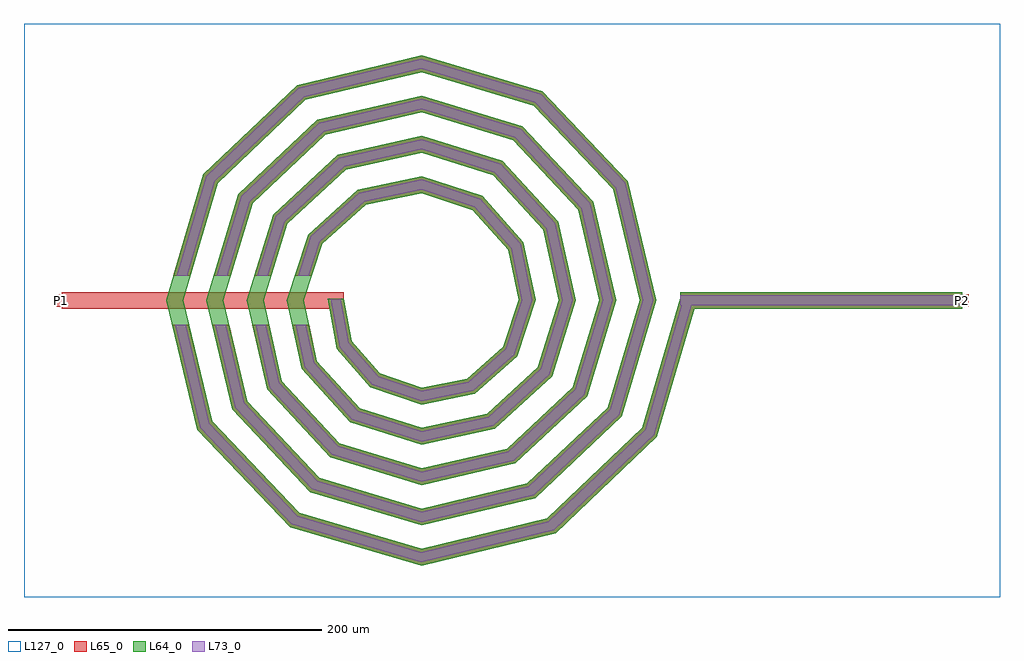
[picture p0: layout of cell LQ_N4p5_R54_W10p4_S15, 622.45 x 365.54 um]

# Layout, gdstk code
import gdstk
lib = gdstk.Library(unit=1e-6, precision=1e-09)
def R(c, l, rs):  # rectangles x0, y0, x1, y1
    for r in rs: c.add(gdstk.rectangle(r[:2], r[2:], *l))
def P(c, l, *ps):  # polygons
    for p in ps: c.add(gdstk.Polygon(p, *l))
L64_0 = (64, 0)
L65_0 = (65, 0)
L73_0 = (73, 0)
L127_0 = (127, 0)

lq_n4p5_r54_w10p4_s15 = lib.new_cell('LQ_N4p5_R54_W10p4_S15')
R(lq_n4p5_r54_w10p4_s15, L64_0, [(165.033,-5.2,345.033,5.2)])
P(lq_n4p5_r54_w10p4_s15, L64_0, [(-44.315,-26.022),(-26.449,-46.54),(0.352,-55.669),(29.199,-49.895),(52.083,-29.69),(62.091,0.318),(55.471,32.383),(32.926,57.629),(0.291,68.512),(-35.571,61.046),(-63.178,36.159),(-74.934,0.268),(-66.618,-38.763),(-39.388,-68.73),(0.248,-81.356),(41.958,-72.19),(74.282,-42.614),(87.778,0.231),(77.76,45.155),(45.839,79.837),(0.216,94.201),(-48.354,83.329),(-85.392,49.062),(-100.623,0.203),(-88.897,-51.554),(-52.284,-90.948),(0.191,-107.046),(54.756,-94.465),(96.505,-55.504),(113.468,0.181),(100.032,57.959),(58.724,102.062),(0.172,119.891),(-61.162,105.598),(-107.62,61.943),(-126.314,0.163),(-111.165,-64.367),(-65.161,-113.178),(0.156,-132.736),(67.571,-116.731),(118.737,-68.378),(139.159,0.149),(122.296,70.777),(71.595,124.296),(0.142,145.582),(-73.983,127.862),(-129.855,74.812),(-152.005,0.137),(-133.427,-77.19),(-78.028,-135.415),(0.131,-158.428),(80.396,-138.992),(140.975,-81.244),(165.243,1.464),(175.222,-1.464),(150.169,-86.848),(85.554,-148.443),(0.131,-169.192),(-83.641,-144.604),(-142.883,-82.338),(-162.769,0.137),(-139.038,80.434),(-79.122,137.324),(0.142,156.346),(77.228,133.473),(131.764,75.905),(149.923,0.149),(127.907,-74.022),(72.688,-126.205),(0.156,-143.5),(-70.816,-122.341),(-120.646,-69.47),(-137.076,0.163),(-116.775,67.611),(-66.251,115.088),(0.172,130.653),(64.407,111.208),(109.529,63.032),(124.23,0.181),(105.64,-61.204),(59.812,-103.972),(0.191,-117.807),(-58.002,-100.072),(-98.415,-56.59),(-111.384,0.203),(-94.503,54.8),(-53.368,92.858),(0.216,104.96),(51.601,88.934),(87.302,50.144),(98.537,0.231),(83.363,-48.402),(46.918,-81.748),(0.248,-92.113),(-45.206,-77.791),(-76.194,-43.69),(-85.69,0.268),(-72.217,42.012),(-40.459,70.642),(0.291,79.266),(38.821,66.642),(65.091,37.224),(72.841,0.318),(61.063,-35.635),(33.985,-59.543),(0.352,-66.417),(-32.453,-55.481),(-53.998,-30.739),(-59.726,0.983),(-49.514,0.983)])
R(lq_n4p5_r54_w10p4_s15, L65_0, [(-229.42,-5.2,-49.42,5.2), (165.033,-5.2,345.033,5.2), (-233.42,-4,-225.42,4), (341.033,-4,349.033,4)])
P(lq_n4p5_r54_w10p4_s15, L65_0, [(-133.427,-77.19),(-78.028,-135.415),(0.131,-158.428),(80.397,-138.992),(140.975,-81.244),(165.243,1.464),(175.222,-1.464),(150.169,-86.848),(85.554,-148.443),(0.131,-169.192),(-83.641,-144.604),(-142.883,-82.338),(-158.975,-15.6),(-148.277,-15.6)],
  [(-111.165,-64.367),(-65.161,-113.178),(0.156,-132.737),(67.572,-116.731),(118.737,-68.378),(139.159,0.149),(122.296,70.777),(71.595,124.296),(0.142,145.582),(-73.983,127.862),(-129.855,74.812),(-147.354,15.6),(-158.199,15.6),(-139.039,80.434),(-79.122,137.324),(0.142,156.346),(77.228,133.473),(131.764,75.905),(149.923,0.149),(127.907,-74.022),(72.688,-126.205),(0.156,-143.5),(-70.816,-122.341),(-120.646,-69.47),(-133.357,-15.6),(-122.671,-15.6)],
  [(-88.897,-51.554),(-52.284,-90.948),(0.191,-107.046),(54.756,-94.465),(96.505,-55.504),(113.469,0.181),(100.032,57.959),(58.724,102.062),(0.172,119.891),(-61.162,105.599),(-107.62,61.943),(-121.569,15.6),(-132.43,15.6),(-116.775,67.611),(-66.251,115.088),(0.172,130.653),(64.407,111.208),(109.53,63.032),(124.23,0.181),(105.64,-61.204),(59.812,-103.972),(0.191,-117.807),(-58.002,-100.072),(-98.415,-56.59),(-107.775,-15.6),(-97.107,-15.6)],
  [(-66.618,-38.763),(-39.388,-68.73),(0.248,-81.356),(41.958,-72.19),(74.282,-42.614),(87.778,0.231),(77.76,45.155),(45.839,79.837),(0.216,94.201),(-48.354,83.329),(-85.392,49.062),(-95.737,15.6),(-106.623,15.6),(-94.503,54.801),(-53.368,92.858),(0.216,104.96),(51.601,88.934),(87.303,50.144),(98.537,0.231),(83.363,-48.402),(46.918,-81.748),(0.248,-92.113),(-45.206,-77.791),(-76.194,-43.69),(-82.262,-15.6),(-71.622,-15.6)],
  [(-26.449,-46.54),(0.352,-55.669),(29.199,-49.895),(52.083,-29.69),(62.091,0.318),(55.471,32.383),(32.927,57.629),(0.291,68.512),(-35.571,61.046),(-63.178,36.159),(-69.813,15.6),(-80.741,15.6),(-72.217,42.012),(-40.459,70.642),(0.291,79.266),(38.821,66.642),(65.091,37.224),(72.841,0.318),(61.063,-35.635),(33.985,-59.543),(0.352,-66.417),(-32.453,-55.481),(-53.998,-30.739),(-59.726,0.983),(-49.514,0.983),(-44.315,-26.022)])
R(lq_n4p5_r54_w10p4_s15, L73_0, [(165.033,-3.2,345.033,3.2)])
P(lq_n4p5_r54_w10p4_s15, L73_0, [(-135.245,-78.18),(-79.108,-137.182),(0.081,-160.498),(81.388,-140.809),(142.743,-82.322),(167.162,0.901),(173.303,0.901),(148.401,-85.77),(84.562,-146.626),(0.081,-167.122),(-82.561,-142.837),(-141.065,-81.348),(-156.917,-15.6),(-150.334,-15.6)],
  [(-112.988,-65.348),(-66.248,-114.94),(0.096,-134.806),(68.555,-118.553),(120.5,-69.464),(141.229,0.092),(124.117,71.763),(72.679,126.061),(0.088,147.652),(-74.971,129.681),(-131.621,75.893),(-149.44,15.6),(-156.113,15.6),(-137.272,79.353),(-78.134,135.504),(0.088,154.276),(76.144,131.708),(129.944,74.919),(147.853,0.092),(126.144,-72.936),(71.704,-124.383),(0.096,-141.43),(-69.729,-120.579),(-118.823,-68.488),(-131.302,-15.6),(-124.726,-15.6)],
  [(-90.727,-52.523),(-53.383,-92.703),(0.118,-109.115),(55.728,-96.293),(98.261,-56.6),(115.538,0.111),(101.858,58.934),(59.817,103.821),(0.106,121.961),(-62.141,107.423),(-109.38,63.033),(-123.658,15.6),(-130.341,15.6),(-115.014,66.521),(-65.272,113.263),(0.106,128.584),(63.314,109.449),(107.703,62.056),(122.161,0.111),(103.883,-60.108),(58.839,-102.144),(0.118,-115.738),(-56.902,-98.317),(-96.584,-55.622),(-105.724,-15.6),(-99.159,-15.6)],
  [(-68.46,-39.711),(-40.507,-70.472),(0.153,-83.425),(42.912,-74.028),(76.029,-43.727),(89.847,0.142),(79.595,46.114),(46.947,81.586),(0.133,96.27),(-49.318,85.161),(-87.144,50.166),(-97.831,15.6),(-104.53,15.6),(-92.751,53.697),(-52.404,91.026),(0.133,102.891),(50.493,87.184),(85.467,49.184),(96.468,0.142),(81.617,-47.289),(45.964,-79.91),(0.153,-90.045),(-44.087,-76.049),(-74.353,-42.742),(-80.216,-15.6),(-73.668,-15.6)],
  [(-27.604,-48.259),(0.217,-57.736),(30.12,-51.75),(53.81,-30.834),(64.158,0.196),(57.321,33.314),(34.06,59.362),(0.179,70.58),(-36.511,62.891),(-64.917,37.284),(-71.915,15.6),(-78.64,15.6),(-70.479,40.887),(-39.519,68.796),(0.179,77.198),(37.688,64.909),(63.241,36.293),(70.774,0.196),(59.336,-34.492),(33.065,-57.688),(0.217,-64.35),(-31.299,-53.762),(-52.136,-29.832),(-57.762,0.605),(-51.478,0.605),(-46.177,-26.929)])
R(lq_n4p5_r54_w10p4_s15, L127_0, [(-253.42,-189.192,369.033,176.346)])
lq_n4p5_r54_w10p4_s15.add(gdstk.Label('P2', (345.033,0), layer=65, texttype=0))
lq_n4p5_r54_w10p4_s15.add(gdstk.Label('P1', (-229.42,0), layer=65, texttype=0))
lq_n4p5_r54_w10p4_s15.add(gdstk.Label('P2', (349.033,0), layer=145, texttype=0))
lq_n4p5_r54_w10p4_s15.add(gdstk.Label('P1', (-233.42,0), layer=145, texttype=0))

lib.write_gds('LQ_N4p5_R54_W10p4_S15.gds')
